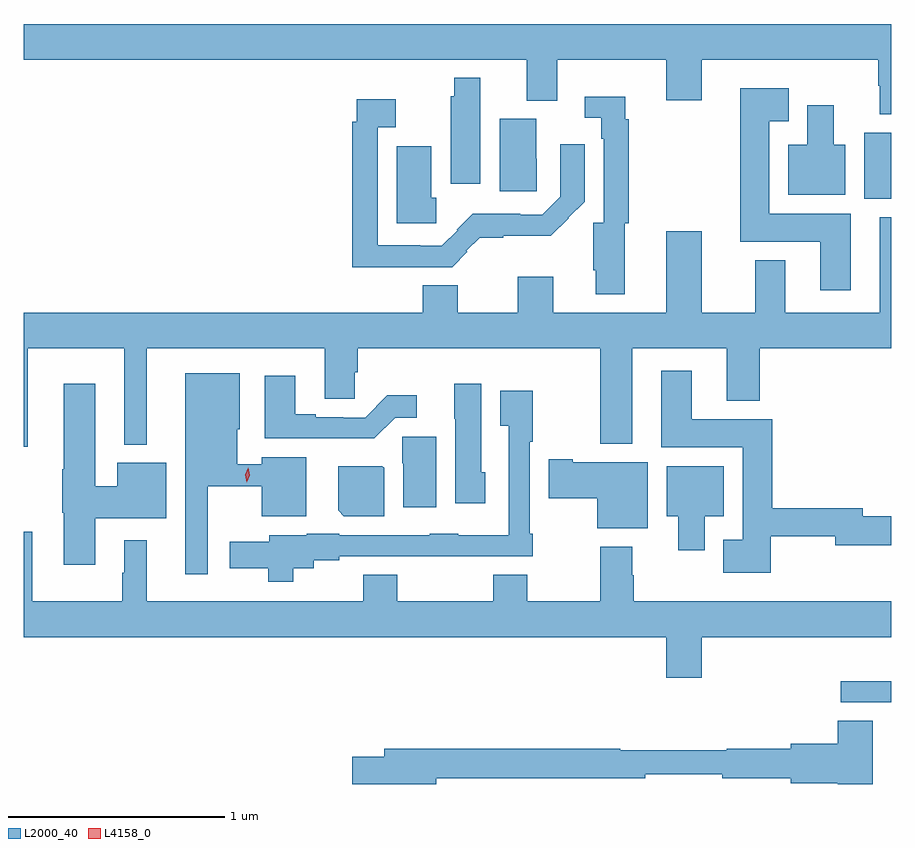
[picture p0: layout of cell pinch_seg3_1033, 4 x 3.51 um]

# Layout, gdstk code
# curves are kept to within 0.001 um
import gdstk
lib = gdstk.Library(unit=1e-6, precision=1e-09)
def R(c, l, rs):  # rectangles x0, y0, x1, y1
    for r in rs: c.add(gdstk.rectangle(r[:2], r[2:], *l))
def P(c, l, *ps):  # polygons
    for p in ps: c.add(gdstk.Polygon(p, *l))
L2000_40 = (2000, 40)
L4158_0 = (4158, 0)

pinch_seg3_1033 = lib.new_cell('pinch_seg3_1033')
R(pinch_seg3_1033, L2000_40, [(333.645,733.914,333.878,734.012), (333.755,736.238,333.878,736.543)])
P(pinch_seg3_1033, L2000_40, [(333.878,737.044),(329.878,737.044),(329.878,736.88),(332.198,736.88),(332.198,736.691),(332.338,736.691),(332.338,736.88),(332.84,736.88),(332.84,736.692),(333.004,736.692),(333.004,736.88),(333.82,736.88),(333.82,736.76),(333.827,736.76),(333.827,736.628),(333.878,736.628)],
  [(331.984,736.795),(331.862,736.795),(331.862,736.71),(331.847,736.71),(331.847,736.308),(331.984,736.308)],
  [(333.691,736.168),(333.316,736.168),(333.316,736.595),(333.406,736.595),(333.406,736.747),(333.182,736.747),(333.182,736.04),(333.551,736.04),(333.551,735.816),(333.691,735.816)],
  [(332.65,736.125),(332.669,736.125),(332.669,736.604),(332.651,736.604),(332.651,736.708),(332.466,736.708),(332.466,736.611),(332.541,736.611),(332.541,736.514),(332.553,736.514),(332.553,736.128),(332.504,736.128),(332.504,735.907),(332.516,735.907),(332.516,735.797),(332.65,735.797)],
  [(331.923,735.993),(331.919,735.997),(331.981,736.059),(332.089,736.059),(332.089,736.067),(332.309,736.067),(332.464,736.224),(332.464,736.489),(332.352,736.489),(332.352,736.248),(332.268,736.164),(332.168,736.164),(332.168,736.169),(331.949,736.169),(331.875,736.095),(331.878,736.092),(331.806,736.02),(331.706,736.02),(331.706,736.024),(331.509,736.024),(331.509,736.568),(331.594,736.568),(331.594,736.696),(331.413,736.696),(331.413,736.592),(331.393,736.592),(331.393,735.923),(331.853,735.923)],
  [(333.667,736.486),(333.613,736.486),(333.613,736.669),(333.491,736.669),(333.491,736.486),(333.404,736.486),(333.404,736.256),(333.667,736.256)],
  [(332.244,736.422),(332.242,736.422),(332.242,736.606),(332.072,736.606),(332.072,736.272),(332.244,736.272)],
  [(331.779,736.242),(331.756,736.242),(331.756,736.48),(331.598,736.48),(331.598,736.125),(331.779,736.125)],
  [(329.896,735.548),(330.341,735.548),(330.341,735.104),(330.445,735.104),(330.445,735.548),(331.265,735.548),(331.265,735.316),(331.404,735.316),(331.404,735.438),(331.418,735.438),(331.418,735.548),(332.536,735.548),(332.536,735.107),(332.683,735.107),(332.683,735.548),(333.119,735.548),(333.119,735.305),(333.272,735.305),(333.272,735.548),(333.878,735.548),(333.878,736.153),(333.827,736.153),(333.827,735.712),(333.391,735.712),(333.391,735.955),(333.251,735.955),(333.251,735.712),(333.004,735.712),(333.004,736.087),(332.84,736.087),(332.84,735.712),(332.32,735.712),(332.32,735.877),(332.156,735.877),(332.156,735.712),(331.879,735.712),(331.879,735.838),(331.718,735.838),(331.718,735.712),(329.878,735.712),(329.878,735.093),(329.896,735.093)],
  [(333.324,734.682),(333.62,734.682),(333.62,734.639),(333.878,734.639),(333.878,734.774),(333.748,734.774),(333.748,734.81),(333.329,734.81),(333.329,735.22),(332.959,735.22),(332.959,735.445),(332.819,735.445),(332.819,735.092),(333.194,735.092),(333.194,734.665),(333.104,734.665),(333.104,734.513),(333.324,734.513)],
  [(330.727,734.911),(330.974,734.911),(330.974,734.774),(331.18,734.774),(331.18,735.046),(330.974,735.046),(330.974,735.012),(330.862,735.012),(330.862,735.174),(330.874,735.174),(330.874,735.433),(330.623,735.433),(330.623,734.505),(330.727,734.505)],
  [(331.59,735.228),(331.69,735.228),(331.69,735.331),(331.555,735.331),(331.452,735.228),(331.352,735.228),(331.352,735.231),(331.225,735.231),(331.225,735.244),(331.129,735.244),(331.129,735.421),(330.989,735.421),(330.989,735.134),(331.495,735.134)],
  [(330.208,734.765),(330.535,734.765),(330.535,735.019),(330.308,735.019),(330.308,734.912),(330.208,734.912),(330.208,735.385),(330.062,735.385),(330.062,734.989),(330.055,734.989),(330.055,734.789),(330.062,734.789),(330.062,734.55),(330.208,734.55)],
  [(332.005,734.976),(331.987,734.976),(331.987,735.385),(331.862,735.385),(331.862,735.222),(331.868,735.222),(331.868,734.832),(332.005,734.832)],
  [(331.12,734.534),(331.216,734.534),(331.216,734.57),(331.332,734.57),(331.332,734.589),(331.749,734.589),(331.749,734.588),(331.981,734.588),(331.981,734.589),(332.224,734.589),(332.224,734.692),(332.211,734.692),(332.211,735.118),(332.224,735.118),(332.224,735.352),(332.075,735.352),(332.075,735.191),(332.115,735.191),(332.115,734.686),(331.881,734.686),(331.881,734.692),(331.749,734.692),(331.749,734.685),(331.332,734.685),(331.332,734.692),(331.182,734.692),(331.182,734.686),(331.01,734.686),(331.01,734.656),(330.828,734.656),(330.828,734.534),(331.006,734.534),(331.006,734.471),(331.12,734.471)],
  [(331.78,735.141),(331.624,735.141),(331.624,735.018),(331.628,735.018),(331.628,734.814),(331.78,734.814)],
  [(332.755,735.022),(332.41,735.022),(332.41,735.035),(332.298,735.035),(332.298,734.857),(332.522,734.857),(332.522,734.717),(332.755,734.717)],
  [(331.54,734.996),(331.532,735.004),(331.328,735.004),(331.328,734.8),(331.354,734.774),(331.54,734.774)],
  [(333.019,734.774),(333.106,734.774),(333.106,735.004),(332.843,735.004),(332.843,734.774),(332.897,734.774),(332.897,734.616),(333.019,734.616)],
  [(333.004,734.216),(333.878,734.216),(333.878,734.38),(332.691,734.38),(332.691,734.501),(332.683,734.501),(332.683,734.632),(332.536,734.632),(332.536,734.38),(332.199,734.38),(332.199,734.504),(332.044,734.504),(332.044,734.38),(331.599,734.38),(331.599,734.504),(331.444,734.504),(331.444,734.38),(330.445,734.38),(330.445,734.662),(330.341,734.662),(330.341,734.513),(330.331,734.513),(330.331,734.38),(329.917,734.38),(329.917,734.701),(329.878,734.701),(329.878,734.216),(332.84,734.216),(332.84,734.028),(333.004,734.028)],
  [(331.78,733.564),(332.744,733.564),(332.744,733.583),(333.1,733.583),(333.1,733.564),(333.416,733.564),(333.416,733.541),(333.632,733.541),(333.632,733.538),(333.793,733.538),(333.793,733.829),(333.632,733.829),(333.632,733.724),(333.416,733.724),(333.416,733.7),(333.12,733.7),(333.12,733.693),(332.628,733.693),(332.628,733.7),(331.541,733.7),(331.541,733.664),(331.392,733.664),(331.392,733.538),(331.78,733.538)])
P(pinch_seg3_1033, L4158_0, [(330.906,734.931),(330.906,734.931),(330.899,734.965),(330.912,734.997),(330.912,734.997),(330.912,734.997),(330.919,734.963),(330.906,734.931)])

lib.write_gds('pinch_seg3_1033.gds')
